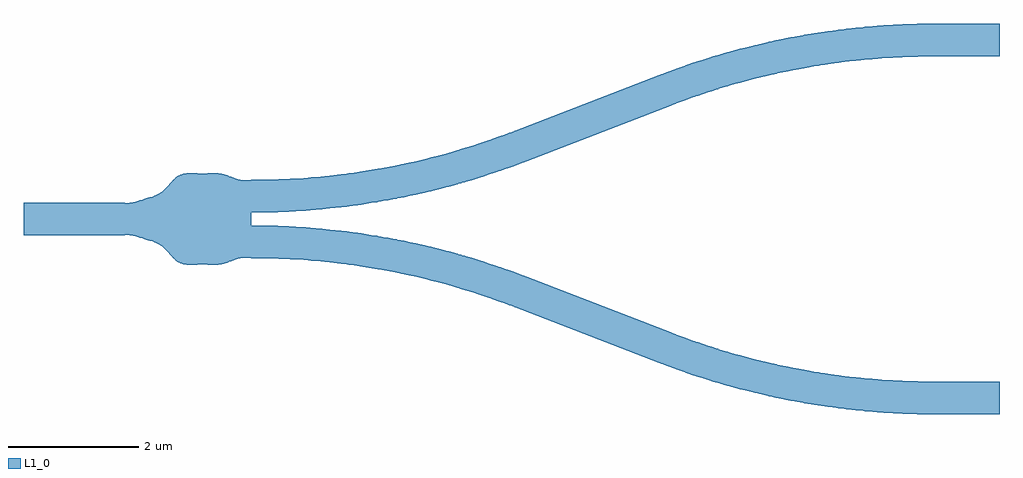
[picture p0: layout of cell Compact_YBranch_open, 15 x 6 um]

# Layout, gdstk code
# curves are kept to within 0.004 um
import gdstk
lib = gdstk.Library(unit=1e-6, precision=1e-09)
def R(c, l, rs):  # rectangles x0, y0, x1, y1
    for r in rs: c.add(gdstk.rectangle(r[:2], r[2:], *l))
def P(c, l, *ps):  # polygons
    for p in ps: c.add(gdstk.Polygon(p, *l))
L1_0 = (1, 0)

compact_ybranch_open = lib.new_cell('Compact_YBranch_open')
R(compact_ybranch_open, L1_0, [(14,-3,15,-2.5), (14.9,-3,15,-2.5), (0,-0.25,0.1,0.25), (0,-0.25,1.5,0.25), (14,2.5,15,3), (14.9,2.5,15,3)])
P(compact_ybranch_open, L1_0, [(13.737,-2.997),(14,-3),(14,-2.5),(13.737,-2.497)],
  [(9.765,-2.21),(10.055,-2.318),(10.422,-2.442),(10.772,-2.548),(11.09,-2.634),(11.441,-2.718),(11.788,-2.79),(12.153,-2.854),(12.533,-2.908),(12.533,-2.404),(12.193,-2.354),(11.872,-2.297),(11.532,-2.226),(11.231,-2.154),(10.937,-2.075),(10.575,-1.966),(10.285,-1.869),(9.945,-1.744)],
  [(12.533,-2.908),(13.119,-2.967),(13.446,-2.987),(13.737,-2.997),(13.737,-2.497),(13.458,-2.487),(13.125,-2.466),(12.533,-2.404)],
  [(9.765,-2.21),(9.945,-1.744),(7.735,-0.89),(7.555,-1.356)],
  [(3.5,-0.6),(3.899,-0.607),(4.322,-0.63),(4.708,-0.665),(5.166,-0.724),(5.591,-0.796),(5.968,-0.874),(6.377,-0.974),(6.738,-1.076),(6.738,-0.555),(6.286,-0.435),(5.935,-0.355),(5.605,-0.29),(5.189,-0.222),(4.79,-0.171),(4.34,-0.13),(3.935,-0.108),(3.5,-0.1)],
  [(6.738,-1.076),(7.131,-1.202),(7.555,-1.356),(7.735,-0.89),(7.237,-0.71),(6.738,-0.555)],
  [(13.737,2.497),(14,2.5),(14,3),(13.737,2.997)],
  [(9.765,2.21),(9.945,1.744),(10.285,1.869),(10.575,1.966),(10.937,2.075),(11.231,2.154),(11.532,2.226),(11.872,2.297),(12.193,2.354),(12.533,2.404),(12.533,2.908),(12.153,2.854),(11.788,2.79),(11.441,2.718),(11.09,2.634),(10.772,2.548),(10.422,2.442),(10.055,2.318)],
  [(12.533,2.404),(13.125,2.466),(13.458,2.487),(13.737,2.497),(13.737,2.997),(13.446,2.987),(13.119,2.967),(12.533,2.908)],
  [(7.555,1.356),(7.735,0.89),(9.945,1.744),(9.765,2.21)],
  [(3.5,0.1),(3.935,0.108),(4.34,0.13),(4.706,0.162),(5.119,0.212),(5.532,0.277),(5.935,0.355),(6.286,0.435),(6.738,0.555),(6.738,1.076),(6.377,0.974),(5.968,0.874),(5.591,0.796),(5.166,0.724),(4.708,0.665),(4.322,0.63),(3.899,0.607),(3.5,0.6)],
  [(6.738,0.555),(7.237,0.71),(7.735,0.89),(7.555,1.356),(7.131,1.202),(6.738,1.076)],
  [(1.5,-0.25),(1.617,-0.245),(1.683,-0.253),(1.964,-0.338),(2.058,-0.374),(2.11,-0.404),(2.156,-0.44),(2.296,-0.594),(2.378,-0.662),(2.378,0.662),(2.321,0.619),(2.156,0.44),(2.11,0.404),(2.058,0.374),(1.964,0.338),(1.692,0.255),(1.617,0.245),(1.5,0.25)],
  [(2.378,-0.662),(2.438,-0.688),(2.522,-0.702),(2.962,-0.703),(3.076,-0.685),(3.268,-0.617),(3.333,-0.6),(3.377,-0.595),(3.5,-0.6),(3.5,0.6),(3.433,0.595),(3.333,0.6),(3.268,0.617),(3.076,0.685),(2.962,0.703),(2.522,0.702),(2.438,0.688),(2.378,0.662)])

lib.write_gds('Compact_YBranch_open.gds')
